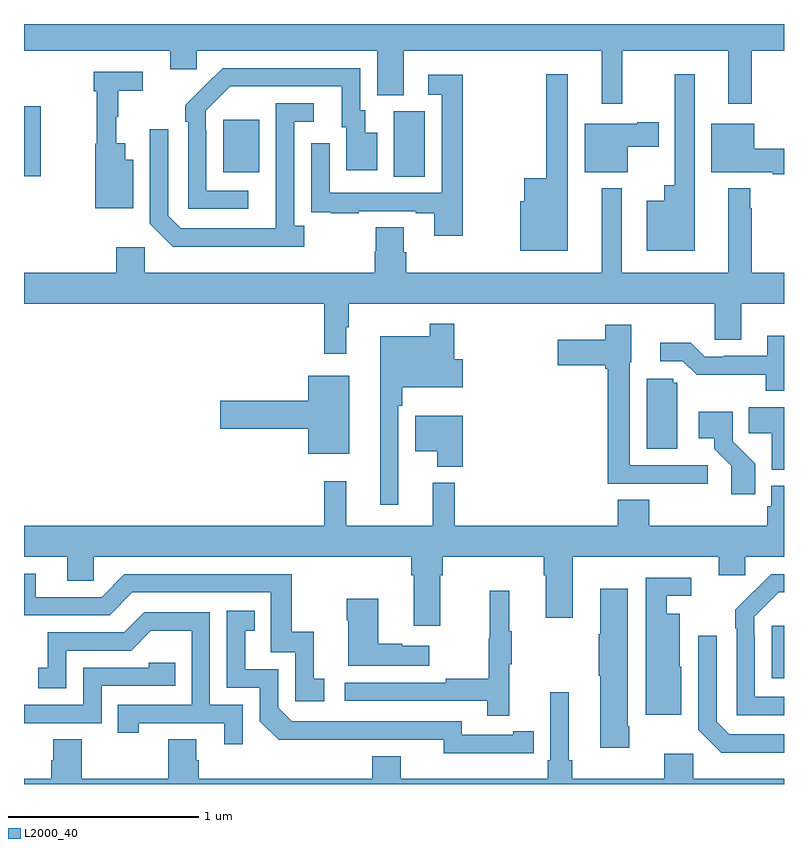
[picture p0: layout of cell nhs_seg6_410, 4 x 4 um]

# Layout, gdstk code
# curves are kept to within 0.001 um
import gdstk
lib = gdstk.Library(unit=1e-6, precision=1e-09)
def R(c, l, rs):  # rectangles x0, y0, x1, y1
    for r in rs: c.add(gdstk.rectangle(r[:2], r[2:], *l))
def P(c, l, *ps):  # polygons
    for p in ps: c.add(gdstk.Polygon(p, *l))
L2000_40 = (2000, 40)

nhs_seg6_410 = lib.new_cell('nhs_seg6_410')
R(nhs_seg6_410, L2000_40, [(138.935,920.057,139,920.332), (136.946,922.696,137.11,923.04), (135,922.7,135.088,923.068), (136.049,922.721,136.237,922.996)])
P(nhs_seg6_410, L2000_40, [(138.148,923.36),(138.707,923.36),(138.707,923.079),(138.829,923.079),(138.829,923.36),(139,923.36),(139,923.5),(135,923.5),(135,923.36),(135.77,923.36),(135.77,923.262),(135.909,923.262),(135.909,923.36),(136.859,923.36),(136.859,923.125),(136.999,923.125),(136.999,923.36),(138.041,923.36),(138.041,923.079),(138.148,923.079)],
  [(136.18,922.623),(135.96,922.623),(135.96,922.943),(135.957,922.943),(135.957,923.043),(136.086,923.172),(136.673,923.172),(136.673,922.956),(136.697,922.956),(136.697,922.731),(136.858,922.731),(136.858,922.927),(136.795,922.927),(136.795,923.046),(136.77,923.046),(136.77,923.268),(136.046,923.268),(135.849,923.073),(135.849,922.985),(135.864,922.985),(135.864,922.527),(136.18,922.527)],
  [(135.574,922.786),(135.532,922.786),(135.532,922.873),(135.485,922.873),(135.485,923.013),(135.496,923.013),(135.496,923.149),(135.625,923.149),(135.625,923.25),(135.367,923.25),(135.367,923.147),(135.382,923.147),(135.382,922.869),(135.374,922.869),(135.374,922.529),(135.574,922.529)],
  [(137.863,923.236),(137.749,923.236),(137.749,922.687),(137.633,922.687),(137.633,922.566),(137.612,922.566),(137.612,922.307),(137.863,922.307)],
  [(138.529,923.236),(138.425,923.236),(138.425,922.651),(138.371,922.651),(138.371,922.57),(138.278,922.57),(138.278,922.307),(138.529,922.307)],
  [(137.308,923.233),(137.127,923.233),(137.127,923.127),(137.199,923.127),(137.199,922.611),(136.608,922.611),(136.608,922.873),(136.512,922.873),(136.512,922.618),(136.513,922.618),(136.513,922.509),(136.615,922.509),(136.615,922.503),(136.763,922.503),(136.763,922.515),(137.063,922.515),(137.063,922.503),(137.159,922.503),(137.159,922.386),(137.308,922.386)],
  [(136.474,922.438),(136.422,922.438),(136.422,922.986),(136.525,922.986),(136.525,923.082),(136.326,923.082),(136.325,922.425),(135.825,922.425),(135.759,922.491),(135.759,922.945),(135.663,922.945),(135.663,922.449),(135.784,922.328),(136.474,922.328)],
  [(138.178,922.853),(138.34,922.853),(138.34,922.983),(138.227,922.983),(138.227,922.975),(137.951,922.975),(137.951,922.721),(138.178,922.721)],
  [(139,922.844),(138.844,922.844),(138.844,922.975),(138.617,922.975),(138.617,922.721),(138.94,922.721),(138.94,922.708),(139,922.708)],
  [(136.696,921.905),(136.708,921.905),(136.708,922.028),(138.636,922.028),(138.636,921.838),(138.775,921.838),(138.775,922.028),(139,922.028),(139,922.192),(138.829,922.192),(138.829,922.529),(138.822,922.529),(138.822,922.636),(138.707,922.636),(138.707,922.192),(138.145,922.192),(138.145,922.636),(138.041,922.636),(138.041,922.192),(137.012,922.192),(137.012,922.298),(136.999,922.298),(136.999,922.43),(136.852,922.43),(136.852,922.305),(136.847,922.305),(136.847,922.192),(135.636,922.192),(135.636,922.324),(135.485,922.324),(135.485,922.192),(135,922.192),(135,922.028),(136.579,922.028),(136.579,921.765),(136.696,921.765)],
  [(136.971,921.491),(136.991,921.491),(136.991,921.587),(137.308,921.587),(137.308,921.735),(137.264,921.735),(137.264,921.922),(137.136,921.922),(137.136,921.856),(136.874,921.856),(136.874,920.97),(136.971,920.97)],
  [(138.598,921.177),(138.189,921.177),(138.189,921.72),(138.196,921.72),(138.196,921.916),(138.06,921.916),(138.06,921.838),(137.808,921.838),(137.808,921.704),(138.06,921.704),(138.06,921.686),(138.073,921.686),(138.073,921.081),(138.373,921.081),(138.373,921.079),(138.598,921.079)],
  [(139,921.859),(138.911,921.859),(138.911,921.753),(138.682,921.753),(138.682,921.75),(138.582,921.75),(138.509,921.823),(138.348,921.823),(138.348,921.726),(138.468,921.726),(138.541,921.653),(138.904,921.654),(138.904,921.569),(139,921.569)],
  [(136.711,921.649),(136.496,921.649),(136.496,921.518),(136.032,921.518),(136.032,921.371),(136.496,921.371),(136.496,921.239),(136.711,921.239)],
  [(138.439,921.612),(138.417,921.612),(138.417,921.633),(138.278,921.633),(138.278,921.264),(138.439,921.264)],
  [(139,921.484),(138.814,921.484),(138.814,921.346),(138.935,921.346),(138.935,921.155),(139,921.155)],
  [(138.848,921.186),(138.729,921.305),(138.729,921.46),(138.552,921.46),(138.552,921.32),(138.632,921.32),(138.632,921.265),(138.723,921.175),(138.723,921.024),(138.848,921.024)],
  [(137.309,921.439),(137.06,921.439),(137.06,921.251),(137.174,921.251),(137.174,921.17),(137.309,921.17)],
  [(137.735,920.6),(137.747,920.6),(137.747,920.376),(137.887,920.376),(137.887,920.696),(138.656,920.696),(138.656,920.598),(138.795,920.598),(138.795,920.696),(139,920.696),(139,921.07),(138.933,921.07),(138.933,920.961),(138.913,920.961),(138.913,920.86),(138.29,920.86),(138.29,920.996),(138.125,920.996),(138.125,920.86),(137.267,920.86),(137.267,921.085),(137.15,921.085),(137.15,920.86),(136.697,920.86),(136.697,921.094),(136.579,921.094),(136.579,920.86),(135,920.86),(135,920.696),(135.227,920.696),(135.227,920.569),(135.366,920.569),(135.366,920.696),(137.039,920.696),(137.039,920.6),(137.051,920.6),(137.051,920.334),(137.191,920.334),(137.191,920.6),(137.204,920.6),(137.204,920.696),(137.735,920.696)],
  [(136.579,920.055),(136.526,920.055),(136.526,920.302),(136.408,920.302),(136.408,920.604),(135.528,920.604),(135.408,920.484),(135.061,920.484),(135.061,920.607),(135,920.607),(135,920.388),(135.45,920.388),(135.57,920.508),(136.299,920.508),(136.299,920.193),(136.428,920.193),(136.428,919.935),(136.579,919.935)],
  [(139,919.959),(138.846,919.959),(138.846,920.279),(138.843,920.279),(138.843,920.379),(138.972,920.508),(139,920.508),(139,920.604),(138.932,920.604),(138.841,920.513),(138.84,920.514),(138.743,920.416),(138.743,920.321),(138.75,920.321),(138.75,919.863),(139,919.863)],
  [(138.46,920.118),(138.451,920.118),(138.451,920.395),(138.382,920.395),(138.382,920.49),(138.511,920.49),(138.511,920.586),(138.273,920.586),(138.273,920.291),(138.272,920.291),(138.272,919.865),(138.46,919.865)],
  [(138.186,919.804),(138.178,919.804),(138.178,920.527),(138.032,920.527),(138.032,920.288),(138.025,920.288),(138.025,920.071),(138.032,920.071),(138.032,919.692),(138.186,919.692)],
  [(137.555,920.131),(137.566,920.131),(137.566,920.305),(137.555,920.305),(137.555,920.518),(137.452,920.518),(137.452,920.268),(137.445,920.268),(137.445,920.054),(137.221,920.054),(137.221,920.034),(136.689,920.034),(136.689,919.938),(137.437,919.938),(137.437,919.86),(137.555,919.86)],
  [(137.134,920.227),(136.991,920.227),(136.991,920.237),(136.864,920.237),(136.864,920.476),(136.699,920.476),(136.699,920.363),(136.706,920.363),(136.706,920.123),(137.134,920.123)],
  [(137.576,919.662),(137.684,919.662),(137.684,919.778),(137.576,919.778),(137.576,919.758),(137.304,919.758),(137.304,919.83),(136.41,919.83),(136.338,919.902),(136.338,920.103),(136.165,920.103),(136.165,920.307),(136.214,920.307),(136.214,920.413),(136.068,920.413),(136.068,920.007),(136.242,920.007),(136.242,919.83),(136.34,919.733),(137.208,919.734),(137.208,919.661)],
  [(136.152,919.917),(135.978,919.917),(135.978,920.403),(135.632,920.403),(135.527,920.298),(135.124,920.298),(135.124,920.113),(135.075,920.113),(135.075,920.004),(135.222,920.004),(135.222,920.202),(135.564,920.202),(135.668,920.306),(135.882,920.306),(135.882,919.917),(135.493,919.917),(135.493,919.77),(135.604,919.77),(135.604,919.821),(136.055,919.821),(136.055,919.71),(136.152,919.71)],
  [(139,919.761),(138.711,919.761),(138.645,919.827),(138.645,920.281),(138.549,920.281),(138.549,919.785),(138.67,919.664),(139,919.664)],
  [(135.408,920.016),(135.797,920.016),(135.797,920.139),(135.657,920.139),(135.657,920.112),(135.312,920.112),(135.312,919.917),(135,919.917),(135,919.821),(135.408,919.821)],
  [(139,919.528),(138.522,919.528),(138.522,919.66),(138.371,919.66),(138.371,919.528),(137.885,919.528),(137.885,919.624),(137.866,919.624),(137.866,919.984),(137.769,919.984),(137.769,919.624),(137.756,919.624),(137.756,919.528),(136.984,919.528),(136.984,919.645),(136.832,919.645),(136.832,919.528),(135.92,919.528),(135.92,919.626),(135.907,919.626),(135.907,919.736),(135.76,919.736),(135.76,919.528),(135.303,919.528),(135.303,919.736),(135.155,919.736),(135.155,919.626),(135.143,919.626),(135.143,919.528),(135,919.528),(135,919.5),(139,919.5)])

lib.write_gds('nhs_seg6_410.gds')
